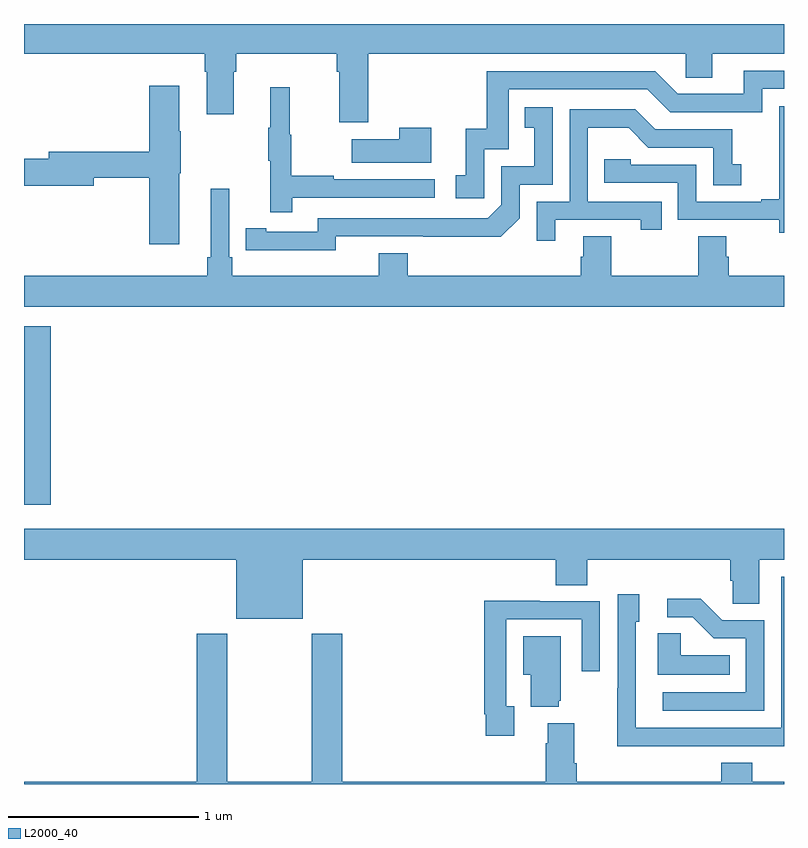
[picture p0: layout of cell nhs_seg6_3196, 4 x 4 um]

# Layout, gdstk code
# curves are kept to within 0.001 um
import gdstk
lib = gdstk.Library(unit=1e-6, precision=1e-09)
def R(c, l, rs):  # rectangles x0, y0, x1, y1
    for r in rs: c.add(gdstk.rectangle(r[:2], r[2:], *l))
def P(c, l, *ps):  # polygons
    for p in ps: c.add(gdstk.Polygon(p, *l))
L2000_40 = (2000, 40)

nhs_seg6_3196 = lib.new_cell('nhs_seg6_3196')
R(nhs_seg6_3196, L2000_40, [(299,936.969,299.141,937.909)])
P(nhs_seg6_3196, L2000_40, [(300.812,939.344),(302.484,939.344),(302.484,939.217),(302.623,939.217),(302.623,939.344),(303,939.344),(303,939.5),(299,939.5),(299,939.344),(299.951,939.344),(299.951,939.248),(299.963,939.248),(299.963,939.024),(300.103,939.024),(300.103,939.248),(300.116,939.248),(300.116,939.344),(300.647,939.344),(300.647,939.248),(300.659,939.248),(300.659,938.982),(300.812,938.982)],
  [(301.422,938.841),(301.551,938.841),(301.551,939.156),(302.28,939.156),(302.4,939.036),(302.886,939.036),(302.886,939.159),(303,939.159),(303,939.255),(302.789,939.255),(302.789,939.132),(302.442,939.132),(302.322,939.252),(301.435,939.252),(301.435,938.95),(301.325,938.95),(301.325,938.703),(301.272,938.703),(301.272,938.583),(301.422,938.583)],
  [(299.818,938.715),(299.826,938.715),(299.826,938.936),(299.818,938.936),(299.818,939.175),(299.66,939.175),(299.66,938.828),(299.129,938.828),(299.129,938.792),(299,938.792),(299,938.65),(299.368,938.65),(299.368,938.692),(299.66,938.692),(299.66,938.34),(299.818,938.34)],
  [(300.413,938.586),(301.162,938.586),(301.162,938.682),(300.629,938.682),(300.629,938.702),(300.406,938.702),(300.406,938.916),(300.398,938.916),(300.398,939.166),(300.296,939.166),(300.296,938.953),(300.285,938.953),(300.285,938.779),(300.296,938.779),(300.296,938.508),(300.413,938.508)],
  [(303,939.067),(302.974,939.067),(302.974,938.861),(302.975,938.861),(302.975,938.578),(302.879,938.578),(302.879,938.565),(302.538,938.565),(302.538,938.76),(302.193,938.76),(302.193,938.787),(302.053,938.787),(302.053,938.664),(302.442,938.664),(302.442,938.469),(302.976,938.469),(302.976,938.401),(303,938.401)],
  [(300.642,938.382),(301.51,938.381),(301.608,938.478),(301.608,938.655),(301.782,938.655),(301.782,939.061),(301.636,939.061),(301.636,938.955),(301.685,938.955),(301.685,938.751),(301.512,938.751),(301.512,938.55),(301.44,938.478),(300.546,938.478),(300.546,938.406),(300.274,938.406),(300.274,938.426),(300.166,938.426),(300.166,938.31),(300.642,938.309)],
  [(301.795,938.469),(302.246,938.469),(302.246,938.418),(302.357,938.418),(302.357,938.565),(301.968,938.565),(301.968,938.954),(302.182,938.954),(302.286,938.85),(302.628,938.85),(302.628,938.652),(302.776,938.652),(302.776,938.761),(302.727,938.761),(302.727,938.946),(302.323,938.946),(302.218,939.051),(301.872,939.051),(301.872,938.565),(301.698,938.565),(301.698,938.358),(301.795,938.358)],
  [(301.144,938.953),(300.974,938.953),(300.974,938.893),(300.725,938.893),(300.725,938.771),(301.144,938.771)],
  [(303,938.176),(302.708,938.176),(302.708,938.274),(302.695,938.274),(302.695,938.384),(302.548,938.384),(302.548,938.176),(302.091,938.176),(302.091,938.384),(301.943,938.384),(301.943,938.274),(301.931,938.274),(301.931,938.176),(301.019,938.176),(301.019,938.293),(300.866,938.293),(300.866,938.176),(300.095,938.176),(300.095,938.272),(300.081,938.272),(300.081,938.632),(299.984,938.632),(299.984,938.272),(299.965,938.272),(299.965,938.176),(299,938.176),(299,938.012),(303,938.012)],
  [(300.466,936.68),(301.799,936.68),(301.799,936.547),(301.964,936.547),(301.964,936.68),(302.717,936.68),(302.717,936.571),(302.73,936.571),(302.73,936.448),(302.869,936.448),(302.869,936.68),(303,936.68),(303,936.844),(299,936.844),(299,936.68),(300.116,936.68),(300.116,936.371),(300.466,936.371)],
  [(302.585,935.7),(303,935.7),(303,936.591),(302.985,936.591),(302.985,935.796),(302.22,935.796),(302.22,936.354),(302.239,936.354),(302.239,936.499),(302.124,936.499),(302.124,936.005),(302.122,936.005),(302.122,935.699),(302.585,935.699)],
  [(302.895,936.363),(302.676,936.363),(302.563,936.476),(302.385,936.476),(302.385,936.378),(302.519,936.378),(302.63,936.267),(302.799,936.267),(302.799,935.982),(302.361,935.982),(302.361,935.886),(302.895,935.886)],
  [(301.579,935.91),(301.539,935.91),(301.539,936.366),(301.935,936.366),(301.935,936.093),(302.031,936.093),(302.031,936.462),(301.715,936.462),(301.715,936.464),(301.423,936.464),(301.423,935.866),(301.431,935.866),(301.431,935.754),(301.579,935.754)],
  [(302.714,936.178),(302.457,936.178),(302.457,936.293),(302.336,936.293),(302.336,936.074),(302.714,936.074)],
  [(303,935.512),(302.834,935.512),(302.834,935.611),(302.669,935.611),(302.669,935.512),(301.91,935.512),(301.91,935.608),(301.897,935.608),(301.897,935.821),(301.757,935.821),(301.757,935.714),(301.745,935.714),(301.745,935.512),(300.674,935.512),(300.674,936.292),(300.514,936.292),(300.514,935.512),(300.069,935.512),(300.069,936.292),(299.909,936.292),(299.909,935.512),(299,935.512),(299,935.5),(303,935.5)],
  [(301.814,935.937),(301.825,935.937),(301.825,936.277),(301.628,936.277),(301.628,936.074),(301.667,936.074),(301.667,935.906),(301.814,935.906)])

lib.write_gds('nhs_seg6_3196.gds')
